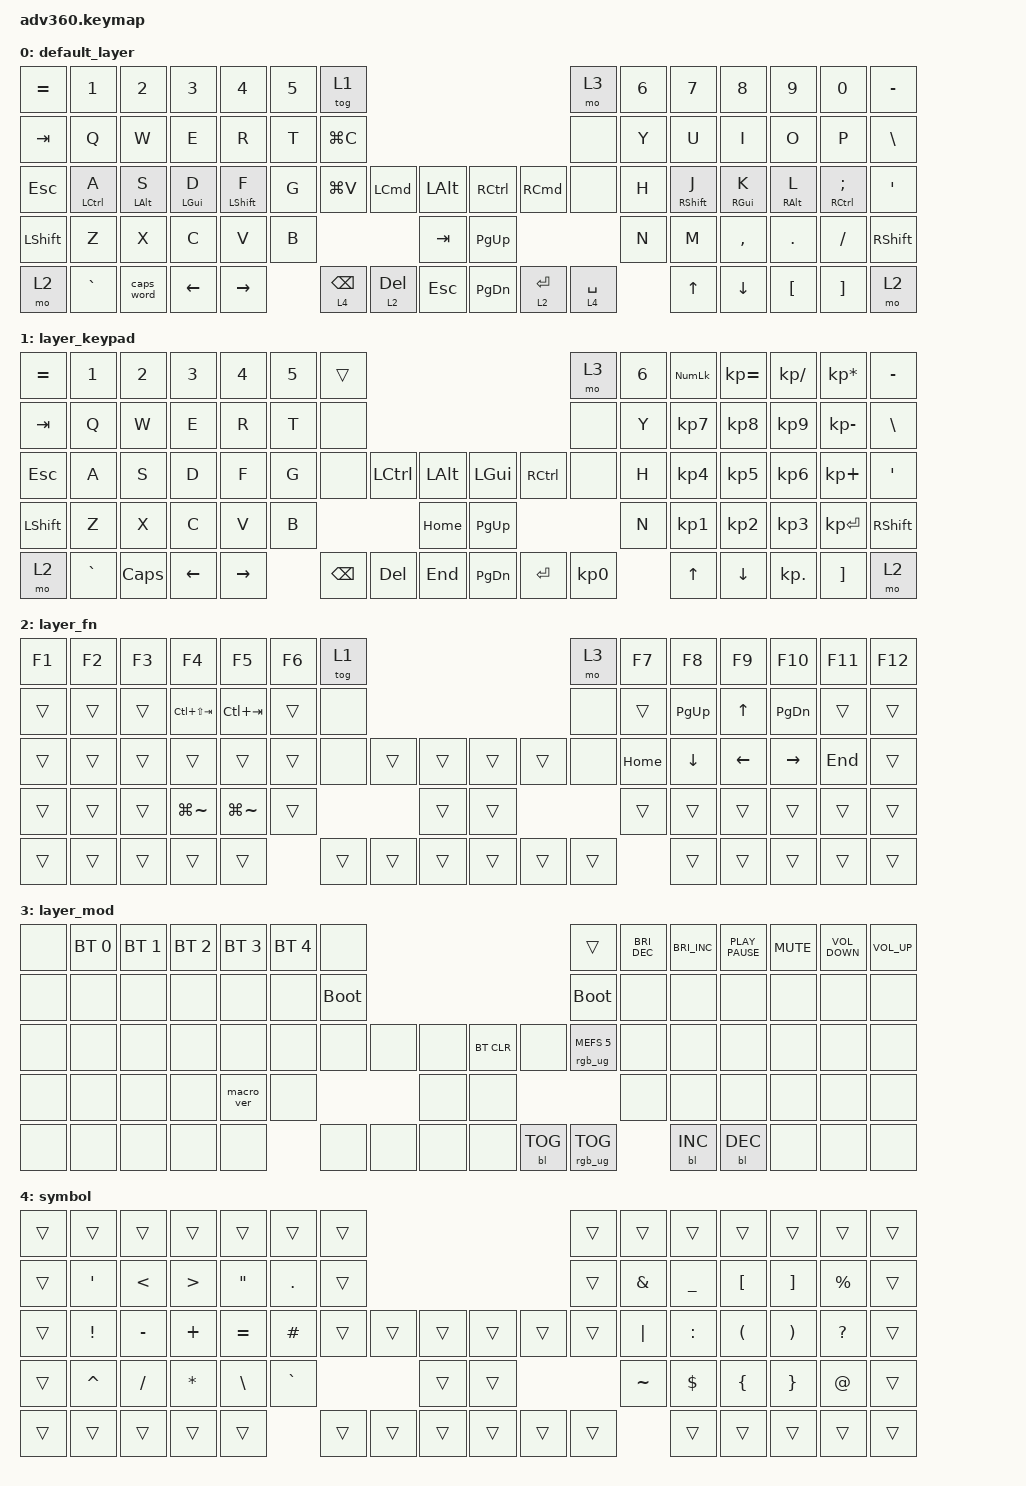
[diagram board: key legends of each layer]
/*
 * Copyright (c) 2020 The ZMK Contributors
 *
 * SPDX-License-Identifier: MIT
 */
/* THIS FILE WAS GENERATED!
 *
 * This file was generated automatically. You may or may not want to
 * edit it directly.
 */

#include <behaviors.dtsi>
#include <dt-bindings/zmk/backlight.h>
#include <dt-bindings/zmk/bt.h>
#include <dt-bindings/zmk/keys.h>
#include <dt-bindings/zmk/rgb.h>

/ {
    behaviors {
        #include "macros.dtsi"
    #include "version.dtsi"

        hm: homerow_mods {
            compatible = "zmk,behavior-hold-tap";
            label = "HOMEROW_MODS";
            #binding-cells = <2>;
            tapping-term-ms = <200>;
            quick_tap_ms = <175>;
            flavor = "tap-preferred";
            bindings = <&kp>, <&kp>;
        };

        lh_pht: lh_pht {
            compatible = "zmk,behavior-hold-tap";
            label = "LH_PHT";
            bindings = <&kp>, <&kp>;

            #binding-cells = <2>;
            tapping-term-ms = <100>;
            quick-tap-ms = <200>;
            flavor = "tap-unless-interrupted";
            hold-trigger-key-positions = <8 9 10 11 12 13 22 23 24 25 26 27 40 41 42 43 44 45 54 55 56 57 58 73 74>;
        };

        rh_pht: rh_pht {
            compatible = "zmk,behavior-hold-tap";
            label = "RH_PHT";
            bindings = <&kp>, <&kp>;

            #binding-cells = <2>;
            tapping-term-ms = <100>;
            quick-tap-ms = <200>;
            flavor = "tap-unless-interrupted";
            hold-trigger-key-positions = <61 0 1 2 3 4 5 15 16 17 18 19 29 30 31 32 33 47 48 49 50 61 51>;
        };
    };

    keymap {
        compatible = "zmk,keymap";

        default_layer {
            bindings = <
&kp EQUAL  &kp N1       &kp N2          &kp N3          &kp N4        &kp N5  &tog 1                                                                    &mo 3        &kp N6  &kp N7             &kp N8      &kp N9           &kp N0          &kp MINUS
&kp TAB    &kp Q        &kp W           &kp E           &kp R         &kp T   &kp LG(C)                                                                 &none        &kp Y   &kp U              &kp I       &kp O            &kp P           &kp BSLH
&kp ESC    &hm LCTRL A  &hm LEFT_ALT S  &hm LEFT_GUI D  &hm LSHIFT F  &kp G   &kp LG(V)        &kp LCMD   &kp LALT        &kp RCTRL  &kp RIGHT_COMMAND  &none        &kp H   &hm RIGHT_SHIFT J  &hm RGUI K  &hm RIGHT_ALT L  &hm RCTRL SEMI  &kp SQT
&kp LSHFT  &kp Z        &kp X           &kp C           &kp V         &kp B                               &kp TAB         &kp PG_UP                                  &kp N   &kp M              &kp COMMA   &kp DOT          &kp FSLH        &kp RSHFT
&mo 2      &kp GRAVE    &caps_word      &kp LEFT        &kp RIGHT             &lt 4 BACKSPACE  &lt 2 DEL  &kp ESCAPE      &kp PG_DN  &lt 2 ENTER        &lt 4 SPACE          &kp UP             &kp DOWN    &kp LBKT         &kp RBKT        &mo 2
            >;
        };

        layer_keypad {
            bindings = <
&kp EQUAL  &kp N1     &kp N2    &kp N3    &kp N4     &kp N5  &trans                                                   &mo 3      &kp N6  &kp KP_NUM  &kp KP_EQUAL  &kp KP_DIVIDE  &kp KP_MULTIPLY  &kp MINUS
&kp TAB    &kp Q      &kp W     &kp E     &kp R      &kp T   &none                                                    &none      &kp Y   &kp KP_N7   &kp KP_N8     &kp KP_N9      &kp KP_MINUS     &kp BSLH
&kp ESC    &kp A      &kp S     &kp D     &kp F      &kp G   &none     &kp LCTRL  &kp LALT      &kp LGUI   &kp RCTRL  &none      &kp H   &kp KP_N4   &kp KP_N5     &kp KP_N6      &kp KP_PLUS      &kp SQT
&kp LSHFT  &kp Z      &kp X     &kp C     &kp V      &kp B                        &kp HOME      &kp PG_UP                        &kp N   &kp KP_N1   &kp KP_N2     &kp KP_N3      &kp KP_ENTER     &kp RSHFT
&mo 2      &kp GRAVE  &kp CAPS  &kp LEFT  &kp RIGHT          &kp BSPC  &kp DEL    &kp END       &kp PG_DN  &kp ENTER  &kp KP_N0          &kp UP      &kp DOWN      &kp KP_DOT     &kp RBKT         &mo 2
            >;
        };

        layer_fn {
            bindings = <
&kp F1  &kp F2  &kp F3  &kp F4           &kp F5         &kp F6  &tog 1                                      &mo 3   &kp F7    &kp F8          &kp F9          &kp F10          &kp F11  &kp F12
&trans  &trans  &trans  &kp LC(LS(TAB))  &kp LC(TAB)    &trans  &none                                       &none   &trans    &kp PG_UP       &kp UP_ARROW    &kp PG_DN        &trans   &trans
&trans  &trans  &trans  &trans           &trans         &trans  &none   &trans  &trans      &trans  &trans  &none   &kp HOME  &kp DOWN_ARROW  &kp LEFT_ARROW  &kp RIGHT_ARROW  &kp END  &trans
&trans  &trans  &trans  &kp LG(TILDE)    &kp LG(TILDE)  &trans                  &trans      &trans                  &trans    &trans          &trans          &trans           &trans   &trans
&trans  &trans  &trans  &trans           &trans                 &trans  &trans  &trans      &trans  &trans  &trans            &trans          &trans          &trans           &trans   &trans
            >;
        };

        layer_mod {
            bindings = <
&none  &bt BT_SEL 0  &bt BT_SEL 1  &bt BT_SEL 2  &bt BT_SEL 3  &bt BT_SEL 4  &none                                                  &trans                  &kp C_BRIGHTNESS_DEC  &kp C_BRIGHTNESS_INC  &kp K_PLAY_PAUSE  &kp K_MUTE  &kp C_VOLUME_DOWN  &kp C_VOLUME_UP
&none  &none         &none         &none         &none         &none         &bootloader                                            &bootloader             &none                 &none                 &none             &none       &none              &none
&none  &none         &none         &none         &none         &none         &none        &none  &none      &bt BT_CLR  &none       &rgb_ug RGB_MEFS_CMD 5  &none                 &none                 &none             &none       &none              &none
&none  &none         &none         &none         &macro_ver    &none                             &none      &none                                           &none                 &none                 &none             &none       &none              &none
&none  &none         &none         &none         &none                       &none        &none  &none      &none       &bl BL_TOG  &rgb_ug RGB_TOG                               &bl BL_INC            &bl BL_DEC        &none       &none              &none
            >;
        };

        symbol {
            bindings = <
&trans  &trans            &trans         &trans            &trans             &trans      &trans                                      &trans  &trans         &trans      &trans                &trans                 &trans        &trans
&trans  &kp SINGLE_QUOTE  &kp LESS_THAN  &kp GREATER_THAN  &kp DOUBLE_QUOTES  &kp PERIOD  &trans                                      &trans  &kp AMPERSAND  &kp UNDER   &kp LEFT_BRACKET      &kp RIGHT_BRACKET      &kp PERCENT   &trans
&trans  &kp EXCL          &kp MINUS      &kp PLUS          &kp EQUAL          &kp HASH    &trans  &trans  &trans      &trans  &trans  &trans  &kp PIPE       &kp COLON   &kp LEFT_PARENTHESIS  &kp RIGHT_PARENTHESIS  &kp QUESTION  &trans
&trans  &kp CARET         &kp SLASH      &kp ASTRK         &kp BACKSLASH      &kp GRAVE                   &trans      &trans                  &kp TILDE      &kp DOLLAR  &kp LEFT_BRACE        &kp RIGHT_BRACE        &kp AT        &trans
&trans  &trans            &trans         &trans            &trans                         &trans  &trans  &trans      &trans  &trans  &trans                 &trans      &trans                &trans                 &trans        &trans
            >;
        };
    };
};
